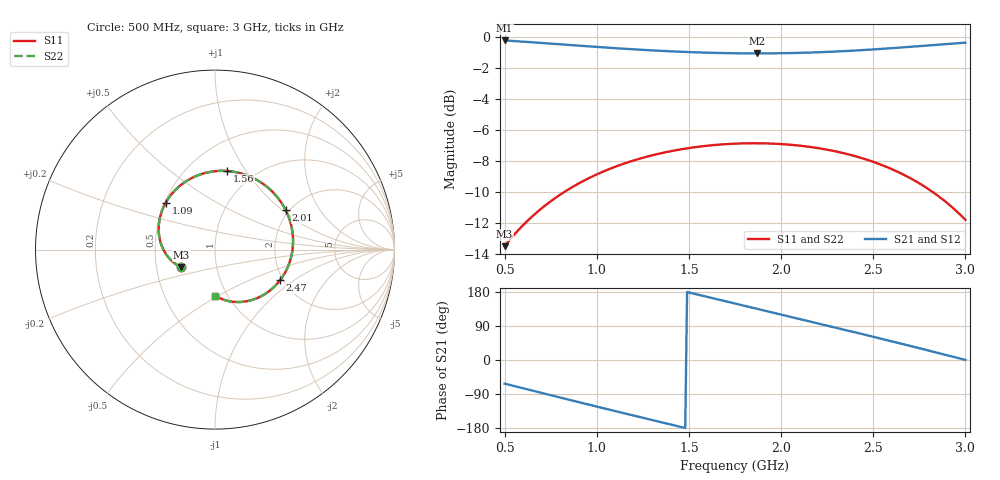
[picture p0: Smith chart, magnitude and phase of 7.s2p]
!freq-unit  param-type  data-format  keyword  impedance-ohms
# GHZ  S  RI  R  50
!Freq  ReS11  ImS11  ReS21  ImS21  ReS12  ImS12  ReS22  ImS22
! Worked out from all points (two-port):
!   251 points, 500 MHz to 3 GHz, reference 50 ohm
!   highest |S21| = -0.22 dB at 500 MHz (marker M1); lowest = -1.1 dB at 1.87 GHz (marker M2)
!   |S21| within 3 dB of the highest: start of sweep to end of sweep
!   lowest |S11| = -13.5 dB at 500 MHz (marker M3), VSWR 1.54, Z = 33.7 - j6.89 ohm
!   |S11| at or under -10 dB: start of sweep to 824.2 MHz; 2.822 GHz to end of sweep
!   |S22| runs from -13.5 to -6.9 dB; largest |S21 - S12| = 0
!   S11 on the Smith chart (normalised r, x): 500 MHz: 0.67, -0.14; 1.09 GHz: 0.51, +0.31; 1.56 GHz: 0.76, +0.83; 2.01 GHz: 1.92, +1.05; 2.47 GHz: 1.93, -0.78; 3 GHz: 0.88, -0.48
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0.5  -0.1872 -0.0978  0.4532 -0.8636  0.4532 -0.8636  -0.1872 -0.0978
0.61  -0.2427 -0.0609  0.2366 -0.9363  0.2366 -0.9363  -0.2427 -0.0609
0.71  -0.2826 -0.00938  0.0331 -0.9559  0.0331 -0.9559  -0.2826 -0.00938
0.81  -0.3073 0.0553  -0.1665 -0.9323  -0.1665 -0.9323  -0.3073 0.0553
0.92  -0.3132 0.1357  -0.3714 -0.86  -0.3714 -0.86  -0.3132 0.1357
1.09  -0.2743 0.2619  -0.6358 -0.6673  -0.6358 -0.6673  -0.2743 0.2619
1.22  -0.2073 0.3454  -0.7811 -0.4697  -0.7811 -0.4697  -0.2073 0.3454
1.34  -0.1221 0.4023  -0.864 -0.263  -0.864 -0.263  -0.1221 0.4023
1.45  -0.0305 0.4323  -0.8946 -0.0636  -0.8946 -0.0636  -0.0305 0.4323
1.56  0.0676 0.4379  -0.8815 0.1356  -0.8815 0.1356  0.0676 0.4379
1.65  0.1478 0.4238  -0.8394 0.2924  -0.8394 0.2924  0.1478 0.4238
1.75  0.232 0.3888  -0.7615 0.4542  -0.7615 0.4542  0.232 0.3888
1.87  0.3197 0.3226  -0.6291 0.6235  -0.6291 0.6235  0.3197 0.3226
2.01  0.3944 0.2187  -0.4299 0.776  -0.4299 0.776  0.3944 0.2187
2.17  0.4336 0.0793  -0.1599 0.8774  -0.1599 0.8774  0.4336 0.0793
2.32  0.4211 -0.0534  0.114 0.8922  0.114 0.8922  0.4211 -0.0534
2.47  0.3636 -0.1693  0.3853 0.8242  0.3853 0.8242  0.3636 -0.1693
2.59  0.2917 -0.2389  0.5841 0.7105  0.5841 0.7105  0.2917 -0.2389
2.7  0.2129 -0.2785  0.7401 0.5631  0.7401 0.5631  0.2129 -0.2785
2.81  0.13 -0.2922  0.8606 0.3799  0.8606 0.3799  0.13 -0.2922
2.91  0.0583 -0.2823  0.9317 0.1888  0.9317 0.1888  0.0583 -0.2823
3  0.00221 -0.2569  0.9594 0.00381  0.9594 0.00381  0.00221 -0.2569
